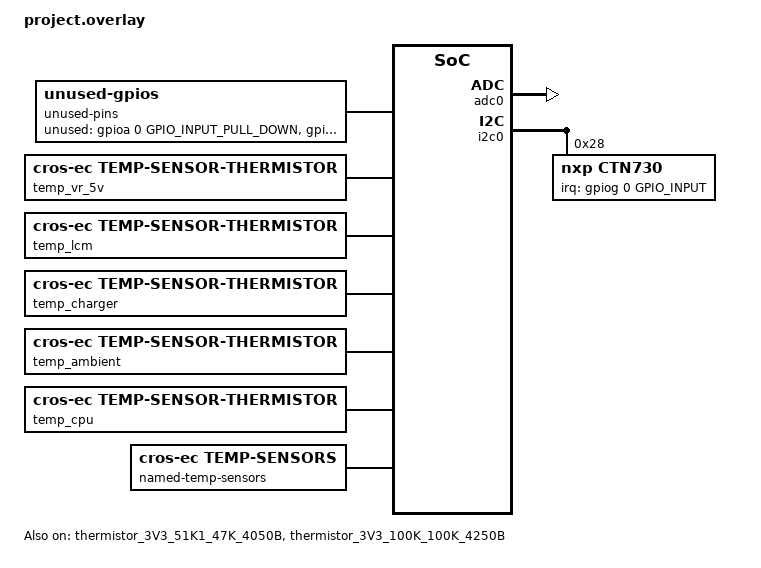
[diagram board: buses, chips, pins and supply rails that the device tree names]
/* Copyright 2025 The ChromiumOS Authors
 * Use of this source code is governed by a BSD-style license that can be
 * found in the LICENSE file.
 */

/* Include the standard and OEM schema templates */
#include <cros/cbi_ufsc_std_schema.dtsi>
#include <cros/cbi_ufsc_oem_schema.dtsi>

#include <cros/cbi_flash.dtsi>
#include <cros/thermistor/thermistor.dtsi>
#include <dt-bindings/motionsense/utils.h>

#include "../arbitrage.dtsi"
#include "../common.dtsi"
#include "../pdc.dtsi"
#include "../generated.dtsi"
#include "../interrupts.dtsi"
#include "../keyboard.dtsi"
#include "../overlay.dtsi"
#include "../power_signal.dtsi"
#include "led.dtsi"
#include "sapphire_ec_ufsc.dtsi"
#include <sapphire/overlay.dtsi>

/ {
	aliases {
		bmi3xx-int = &lid_accel;
		lsm6dsm-int = &lid_accel;
		tcs3400-int = &als_clear;
		gpio-btn-ign-in = &gpio_usb_fp_btn_ign;
	};

	/* Rotation matrix used by drivers. */
	motionsense-rotation-ref {
		compatible = "cros-ec,motionsense-rotation-ref";
		lid_rot_ref: lid-rotation-ref-bmi {
			mat33 = <(-1) 0 0
				 0 (-1) 0
				 0 0 1>;
		};
		lid_rot_ref_lsm6dsm: lid-rotation-ref-lsm6dsm {
			mat33 = <0 1 0
				 (-1) 0 0
				 0 0 1>;
		};
	};

	motionsense-sensor-data {
		bmi323_data: bmi323-drv-data {
			compatible = "cros-ec,drvdata-bmi3xx";
			status = "okay";
		};
		lsm6dsm_data_accel: lsm6dsm-accel-drv-data {
			compatible = "cros-ec,drvdata-lsm6dsm";
			status = "okay";
		};
		lsm6dsm_data_gyro: lsm6dsm-gyro-drv-data {
			compatible = "cros-ec,drvdata-lsm6dsm";
			status = "okay";
		};

		tcs_clear_data: tcs3400-clear-drv-data {
			compatible = "cros-ec,drvdata-tcs3400-clear";
			status = "okay";

			als-drv-data {
				compatible = "cros-ec,accelgyro-als-drv-data";
				als-cal {
					scale = <1>;
					uscale = <0>;
					offset = <0>;
					als-channel-scale {
					compatible =
					"cros-ec,accelgyro-als-channel-scale";
						k-channel-scale = <1>;
						cover-scale = "1.0f";
					};
				};
			};
		};

		tcs_rgb_data: tcs3400-rgb-drv-data {
			compatible = "cros-ec,drvdata-tcs3400-rgb";
			status = "okay";

			/* node for rgb_calibration_t defined in accelgyro.h */
			rgb_calibration {
				compatible =
					"cros-ec,accelgyro-rgb-calibration";

				irt = <1>;

				rgb-cal-x {
					offset = <0>;
					coeff = "0.464318099", "-0.374639473", "0.059786474", "-0.749608515";
					als-channel-scale {
					compatible =
					"cros-ec,accelgyro-als-channel-scale";
						k-channel-scale = <1>;
						cover-scale = "1.0f";
					};
				};
				rgb-cal-y {
					offset = <0>;
					coeff = "0.462807275", "-0.400565821", "-0.100519369", "-0.510790024";
					als-channel-scale {
					compatible =
					"cros-ec,accelgyro-als-channel-scale";
						k-channel-scale = <1>;
						cover-scale = "1.0f";
					};
				};
				rgb-cal-z {
					offset = <0>;
					coeff = "-0.062110042", "-0.02692167", "0.359548949", "0.383362422";
					als-channel-scale {
					compatible =
					"cros-ec,accelgyro-als-channel-scale";
						k-channel-scale = <1>;
						cover-scale = "1.0f";
					};
				};
			};
		};
	};
	/*
	 * Declare mutexes used by sensor drivers.
	 * A mutex node is used to create an instance of mutex_t.
	 * A mutex node is referenced by a sensor node if the
	 * corresponding sensor driver needs to use the
	 * instance of the mutex.
	 */
	motionsense-mutex {
		compatible = "cros-ec,motionsense-mutex";
		lid_mutex: lid-mutex {
		};
	};

	motionsense-sensor {
		lid_accel: lid-accel {
			compatible = "cros-ec,bmi3xx-accel";
			status = "okay";

			active-mask = "SENSOR_ACTIVE_S0";
			location = "MOTIONSENSE_LOC_LID";
			mutex = <&lid_mutex>;
			port = <&i2c_ec_i2c_sensor_scl_1v8>;
			rot-standard-ref = <&lid_rot_ref>;
			drv-data = <&bmi323_data>;
			configs {
				compatible =
					"cros-ec,motionsense-sensor-config";
				ec-s0 {
					odr = <(10000 | ROUND_UP_FLAG)>;
				};
			};
		};

		lid_gyro: lid-gyro {
			compatible = "cros-ec,bmi3xx-gyro";
			status = "okay";

			active-mask = "SENSOR_ACTIVE_S0";
			location = "MOTIONSENSE_LOC_LID";
			mutex = <&lid_mutex>;
			port = <&i2c_ec_i2c_sensor_scl_1v8>;
			rot-standard-ref = <&lid_rot_ref>;
			drv-data = <&bmi323_data>;
		};

		als_clear: lid-als-clear {
			compatible = "cros-ec,tcs3400-clear";
			status = "okay";

			active-mask = "SENSOR_ACTIVE_S0";
			location = "MOTIONSENSE_LOC_LID";
			port = <&i2c_ec_i2c_sensor_scl_1v8>;
			default-range = <0x10000>;
			drv-data = <&tcs_clear_data>;
			i2c-spi-addr-flags = "TCS3400_I2C_ADDR_FLAGS";
			configs {
				compatible =
					"cros-ec,motionsense-sensor-config";
				ec-s0 {
					/* Run ALS sensor in S0 */
					odr = <1000>;
				};
			};
		};

		lid-als-rgb {
			compatible = "cros-ec,tcs3400-rgb";
			status = "okay";

			active-mask = "SENSOR_ACTIVE_S0";
			location = "MOTIONSENSE_LOC_LID";
			port = <&i2c_ec_i2c_sensor_scl_1v8>;
			default-range = <0x10000>; /* scale = 1x, uscale = 0 */
			drv-data = <&tcs_rgb_data>;
		};
	};

	motionsense-sensor-alt {
		alt_lid_accel: alt-lid-accel {
			compatible = "cros-ec,lsm6dsm-accel";
			status = "okay";

			active-mask = "SENSOR_ACTIVE_S0";
			location = "MOTIONSENSE_LOC_LID";
			mutex = <&lid_mutex>;
			port = <&i2c_ec_i2c_sensor_scl_1v8>;
			rot-standard-ref = <&lid_rot_ref_lsm6dsm>;
			drv-data = <&lsm6dsm_data_accel>;
			alternate-for = <&lid_accel>;
			alternate-ufsc-indicator = <&ufsc_lid_sensor_lsm6dsm>;
			configs {
				compatible =
					"cros-ec,motionsense-sensor-config";
				ec-s0 {
					odr = <(12500 | ROUND_UP_FLAG)>;
					ec-rate = <(100 * USEC_PER_MSEC)>;
				};
			};
		};

		alt_lid_gyro: alt-lid-gyro {
			compatible = "cros-ec,lsm6dsm-gyro";
			status = "okay";

			active-mask = "SENSOR_ACTIVE_S0";
			location = "MOTIONSENSE_LOC_LID";
			mutex = <&lid_mutex>;
			port = <&i2c_ec_i2c_sensor_scl_1v8>;
			rot-standard-ref = <&lid_rot_ref_lsm6dsm>;
			default-range = <(1000 | ROUND_UP_FLAG)>; /* dps */
			drv-data = <&lsm6dsm_data_gyro>;
			alternate-for = <&lid_gyro>;
			alternate-ufsc-indicator = <&ufsc_lid_sensor_lsm6dsm>;
		};
	};

	motionsense-sensor-info {
		compatible = "cros-ec,motionsense-sensor-info";

		/* list of entries for motion_als_sensors */
		als-sensors = <&als_clear>;
		/*
		 * list of GPIO interrupts that have to
		 * be enabled at initial stage
		 */
		sensor-irqs = <&int_imu &int_als_rgb>;
		/* list of sensors in force mode */
		accel-force-mode-sensors = <&als_clear>;
	};

	batteries {
		default_battery: sunwoda_l25d2pk6 {
			compatible = "sunwoda,l25d2pk6", "battery-smart";
		};
		atl_l25n2pk6 {
			compatible = "atl,l25n2pk6", "battery-smart";
		};
	};

	named-adc-channels {
		/delete-node/ ec_adc0;
		/delete-node/ ec_adc1;
		/delete-node/ ec_adc6;

		adc_temp_lcm: temp_sensor_lcm {
			enum-name = "ADC_TEMP_SENSOR_2";
			io-channels = <&adc0 0>;
		};
		adc_temp_sensor_5: temp_sensor5 {
			enum-name = "ADC_TEMP_SENSOR_5";
			io-channels = <&adc0 1>;
		};
		adc_temp_sensor_1: temp_sensor1 {
			enum-name = "ADC_TEMP_SENSOR_1";
			io-channels = <&adc0 4>;
		};
		adc_cc_lid_base_adc: cc_lid_base_adc {
			enum-name = "ADC_BASE_DET";
			io-channels = <&adc0 5>;
		};
		adc_temp_sensor_3: temp_sensor3 {
			enum-name = "ADC_TEMP_SENSOR_3";
			io-channels = <&adc0 6>;
		};
		adc_temp_sensor_4: temp_sensor4 {
			enum-name = "ADC_TEMP_SENSOR_4";
			io-channels = <&adc0 7>;
		};
	};

	named-gpios {
		/delete-node/ ec_gpa7;
		/delete-node/ fp_btn_ign;
		/delete-node/ pen_int_odl;
		/delete-node/ pen_rst_l;
		/delete-node/ ec_gpg1;
		/delete-node/ ec_led1_odl;
		/delete-node/ ec_led2_odl;
		/delete-node/ ec_gpd3;
		/delete-node/ en_cc_lid_base_pu_r;
		/delete-node/ ec_gpd1;
		/delete-node/ ec_gph1;
		/delete-node/ ec_hid_int_odl;
		/delete-node/ rsvd_kso17;

		gsc_ec_voldn_btn_odl {
			gpios = <&gpioe 3 (GPIO_INPUT | GPIO_PULL_UP)>;
		};
		gsc_ec_volup_btn_odl {
			gpios = <&gpioe 4 (GPIO_INPUT | GPIO_PULL_UP)>;
		};
		gpio_ap_bl_en_odl: gpio_ap_bl_en_odl{
			gpios = <&gpiod 7 (GPIO_INPUT | GPIO_VOLTAGE_1P8)>;
		};
		gpio_ec_tchscr_report_en_od: ec_tchscr_report_en_od {
			gpios = <&gpioa 7 (GPIO_OUTPUT | GPIO_OPEN_DRAIN | GPIO_OUTPUT_INIT_LOW)>;
		};
		gpio_pen_int_odl: pen_int_odl {
			gpios = <&gpiog 0 GPIO_INPUT>;
			enum-name = "GPIO_WPC_IRQ";
		};
		gpio_pen_rst_l: pen_rst_l {
			gpios = <&gpiog 3 (GPIO_OUTPUT | GPIO_ACTIVE_LOW | GPIO_OUTPUT_INIT_HIGH)>;
			enum-name = "GPIO_WLC_NRST_CONN";
		};
		gpio_pen_pres: pen_pres_odl {
			gpios = <&gpiog 1 (GPIO_INPUT)>;
			enum-name = "GPIO_HALL_CTL_PCHG";
		};
		gpio_pp5000_wlc_en: pp5000_wlc_en {
			gpios = <&gpiod 3 (GPIO_OUTPUT)>;
		};
		gpio_pp1800_wlc_en: pp1800_wlc_en {
			gpios = <&gpioa 1 (GPIO_OUTPUT | GPIO_OUTPUT_INIT_LOW)>;
		};
		imu_int_ec_l {
			gpios = <&gpiod 0 (GPIO_INPUT | GPIO_VOLTAGE_1P8)>;
		};
		gpio_ec_pac_en_odl: ec_pac_en_odl {
			gpios = <&gpioc 5 (GPIO_OUTPUT | GPIO_OPEN_DRAIN | GPIO_OUTPUT_INIT_HIGH)>;
		};
		gpio_usb_fp_btn_ign: usb_fp_btn_ign {
			gpios = <&gpioe 1 (GPIO_INPUT)>;
		};
		gpio_ec_pogo_low_pwr_sw: ec_pogo_low_pwr_sw{
			gpios = <&gpioe 2 (GPIO_OUTPUT | GPIO_OUTPUT_INIT_LOW)>;
		};
	};

	unused-pins {
		compatible = "unused-gpios";

		unused-gpios =
			<&gpioa 0 GPIO_INPUT_PULL_DOWN>,
			<&gpioa 3 GPIO_INPUT_PULL_DOWN>,
			<&gpiod 1 GPIO_INPUT_PULL_DOWN>,
			<&gpiof 0 GPIO_INPUT_PULL_DOWN>,
			<&gpiof 1 GPIO_INPUT_PULL_DOWN>,
			<&gpioh 1 GPIO_INPUT_PULL_DOWN>;
	};

	gpio-interrupts {
		int_ap_bl_en: int_ap_bl_en{
			irq-pin = <&gpio_ap_bl_en_odl>;
			flags = <GPIO_INT_EDGE_BOTH>;
			handler = "ap_bl_en_interrupt";
		};
		int_imu: ec-imu {
			handler = "motion_interrupt";
		};
		int_wpc: wpc{
			irq-pin = <&gpio_pen_int_odl>;
			flags = <GPIO_INT_EDGE_RISING>;
			handler = "pchg_irq";
		};
		int_batt_pres_en: batt_pres_int{
			irq-pin = <&gpio_ec_batt_pres_odl>;
			flags = <GPIO_INT_EDGE_BOTH>;
			handler = "batt_pres_interrupt";
		};
		wpc_lid_irq: wpc_lid_irq{
			irq-pin = <&gpio_pen_pres>;
			flags = <GPIO_INT_EDGE_BOTH>;
			handler = "wpc_hall_interrupt";
		};
	};

	temp_vr_5v: vr_5v {
		compatible = "cros-ec,temp-sensor-thermistor";
		thermistor = <&thermistor_3V3_51K1_47K_4050B>;
		adc = <&adc_temp_sensor_1>;
	};
	temp_lcm: lcm {
		 compatible = "cros-ec,temp-sensor-thermistor";
		 thermistor = <&thermistor_3V3_100K_100K_4250B>;
		 adc = <&adc_temp_lcm>;
	 };
	temp_charger: charger {
		compatible = "cros-ec,temp-sensor-thermistor";
		thermistor = <&thermistor_3V3_51K1_47K_4050B>;
		adc = <&adc_temp_sensor_3>;
	};
	temp_ambient: ambient {
		compatible = "cros-ec,temp-sensor-thermistor";
		thermistor = <&thermistor_3V3_51K1_47K_4050B>;
		adc = <&adc_temp_sensor_4>;
	};
	temp_cpu: cpu {
		compatible = "cros-ec,temp-sensor-thermistor";
		thermistor = <&thermistor_3V3_51K1_47K_4050B>;
		adc = <&adc_temp_sensor_5>;
	};

	named-temp-sensors {
		compatible = "cros-ec,temp-sensors";
		vr_5v {
			sensor = <&temp_vr_5v>;
		};
		lcm {
			sensor = <&temp_lcm>;
		};
		charger {
			sensor = <&temp_charger>;
		};
		ambient {
			sensor = <&temp_ambient>;
		};
		cpu {
			sensor = <&temp_cpu>;
		};
	};
};

&adc0 {
	status = "okay";
	pinctrl-0 = <&adc0_ch0_gpi0_default
		&adc0_ch1_gpi1_default
		&adc0_ch2_gpi2_default
		&adc0_ch3_gpi3_default
		&adc0_ch4_gpi4_default
		&adc0_ch5_gpi5_default
		&adc0_ch6_gpi6_default
		&adc0_ch7_gpi7_default>;
	pinctrl-names = "default";
};

&thermistor_3V3_51K1_47K_4050B {
	status = "okay";
};

&thermistor_3V3_100K_100K_4250B {
	status = "okay";
};

&i2c0 {
	ctn730@28 {
		compatible = "nxp,ctn730";
		reg = <0x28>;
		irq-gpios=<&gpiog 0 GPIO_INPUT>;
		rf-charge-msec = <1000>;
		full-percent = <100>;
	};
};

&i2c_ap_i2c_ec_scl_1v8 {
	status = "disabled";
};

&pdc_power_p0 {
       usb-comm-capable-as-device;
};
